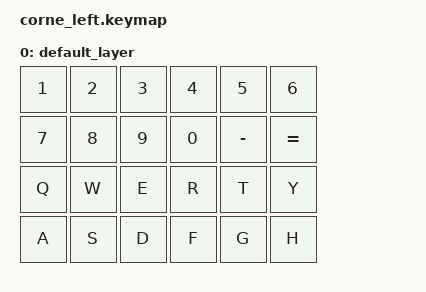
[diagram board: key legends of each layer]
#include <behaviors.dtsi>
#include <dt-bindings/zmk/keys.h>
#include <dt-bindings/zmk/bt.h>

/ {
    keymap {
        compatible = "zmk,keymap";

        default_layer {
            bindings = <
                &kp N1 &kp N2 &kp N3 &kp N4 &kp N5 &kp N6
                &kp N7 &kp N8 &kp N9 &kp N0 &kp MINUS &kp EQUAL
                &kp Q &kp W &kp E &kp R &kp T &kp Y
                &kp A &kp S &kp D &kp F &kp G &kp H
            >;
        };
    };
};
